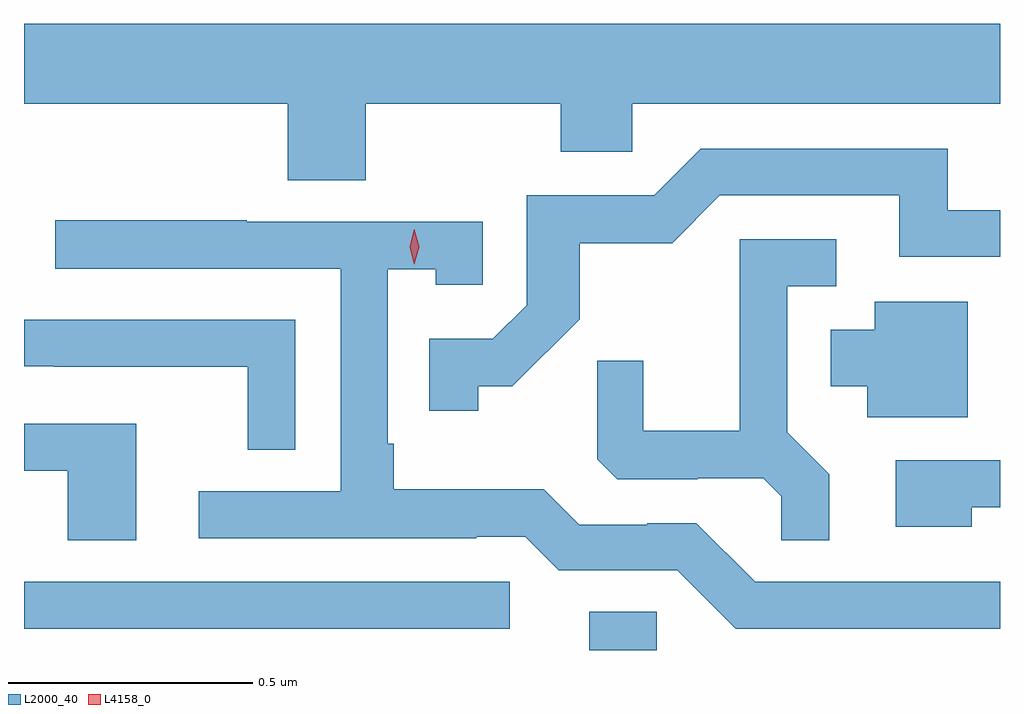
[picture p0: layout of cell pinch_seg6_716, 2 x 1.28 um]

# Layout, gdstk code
import gdstk
lib = gdstk.Library(unit=1e-6, precision=1e-09)
def R(c, l, rs):  # rectangles x0, y0, x1, y1
    for r in rs: c.add(gdstk.rectangle(r[:2], r[2:], *l))
def P(c, l, *ps):  # polygons
    for p in ps: c.add(gdstk.Polygon(p, *l))
L2000_40 = (2000, 40)
L4158_0 = (4158, 0)

pinch_seg6_716 = lib.new_cell('pinch_seg6_716')
R(pinch_seg6_716, L2000_40, [(435.815,951.544,435.954,951.623), (434.657,951.588,435.652,951.684)])
P(pinch_seg6_716, L2000_40, [(435.357,952.664),(435.757,952.664),(435.757,952.566),(435.903,952.566),(435.903,952.664),(436.657,952.664),(436.657,952.828),(434.657,952.828),(434.657,952.664),(435.197,952.664),(435.197,952.507),(435.357,952.507)],
  [(435.588,952.085),(435.658,952.085),(435.796,952.222),(435.796,952.378),(435.985,952.378),(436.083,952.476),(436.451,952.476),(436.451,952.35),(436.657,952.35),(436.657,952.446),(436.55,952.446),(436.55,952.572),(436.044,952.572),(435.948,952.476),(435.687,952.476),(435.687,952.251),(435.618,952.182),(435.487,952.182),(435.487,952.035),(435.588,952.035)],
  [(436.657,951.684),(436.155,951.684),(436.035,951.804),(435.934,951.804),(435.934,951.801),(435.795,951.801),(435.722,951.874),(435.415,951.874),(435.415,951.967),(435.402,951.967),(435.402,952.325),(435.501,952.325),(435.501,952.293),(435.597,952.293),(435.597,952.422),(435.113,952.422),(435.113,952.425),(434.721,952.425),(434.721,952.326),(435.306,952.326),(435.306,951.87),(435.015,951.87),(435.015,951.774),(435.584,951.774),(435.584,951.777),(435.684,951.777),(435.753,951.708),(435.996,951.708),(436.116,951.588),(436.657,951.588)],
  [(436.307,951.905),(436.221,951.991),(436.221,952.29),(436.321,952.29),(436.321,952.386),(436.124,952.386),(436.124,951.994),(435.926,951.994),(435.926,952.137),(435.832,952.137),(435.832,951.935),(435.873,951.894),(436.038,951.894),(436.038,951.897),(436.172,951.897),(436.209,951.86),(436.209,951.769),(436.307,951.769)],
  [(436.591,952.258),(436.4,952.258),(436.4,952.201),(436.31,952.201),(436.31,952.085),(436.385,952.085),(436.385,952.022),(436.591,952.022)],
  [(435.213,952.221),(434.657,952.221),(434.657,952.126),(434.719,952.126),(434.719,952.125),(435.115,952.125),(435.115,951.955),(435.213,951.955)],
  [(434.887,952.008),(434.657,952.008),(434.657,951.912),(434.747,951.912),(434.747,951.769),(434.887,951.769)],
  [(436.599,951.837),(436.657,951.837),(436.657,951.933),(436.443,951.933),(436.443,951.797),(436.599,951.797)])
P(pinch_seg6_716, L4158_0, [(435.457,952.335),(435.457,952.335),(435.447,952.371),(435.457,952.407),(435.457,952.407),(435.457,952.407),(435.467,952.371),(435.457,952.335)])

lib.write_gds('pinch_seg6_716.gds')
